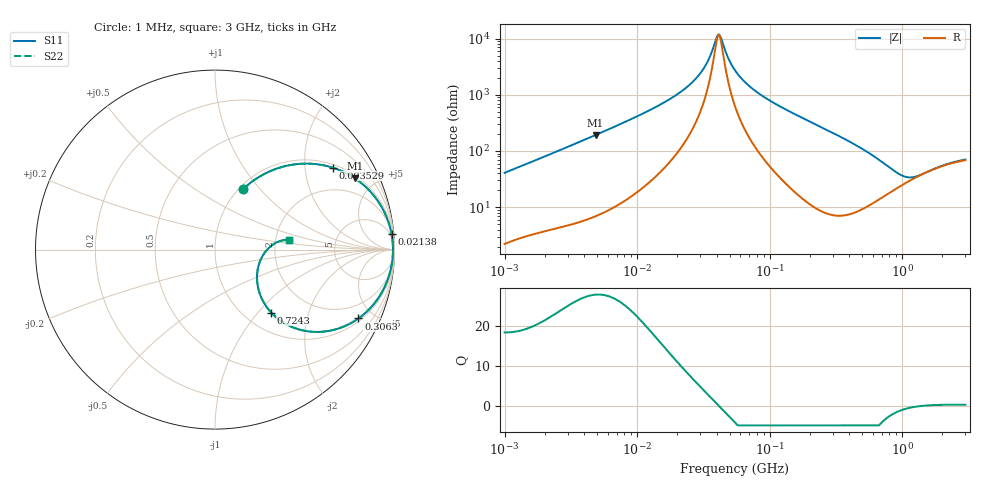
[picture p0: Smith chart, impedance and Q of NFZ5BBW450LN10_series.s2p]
! NFZ5BBW450LN10
# Hz S RI R 50
!Freq.(Hz) S11(Real) S11(Imag) S21(Real) S21(Imag) S12(Real) S12(Imag) S22(Real) S22(Imag)
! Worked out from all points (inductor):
!   401 points, 1 MHz to 3 GHz, reference 50 ohm
!   read as one part in series: L = 6.43 uH near 1.041 MHz
!   highest Q = 27.9 at 4.861 MHz (marker M1), where L = 6.31 uH
!   self-resonance near 40.57 MHz
!   S11 on the Smith chart (normalised r, x): 1 MHz: 1.04, +0.82; 3.529 MHz: 1.11, +2.79; 21.38 MHz: 3, +23; 306.3 MHz: 1.14, -4.09; 724.3 MHz: 1.31, -1.18; 3 GHz: 2.38, +0.31
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1000000  0.1568 0.3375  0.8432 -0.3375  0.8432 -0.3375  0.1568 0.3375
2055611  0.4057 0.4685  0.5943 -0.4685  0.5943 -0.4685  0.4057 0.4685
3528959  0.6555 0.4567  0.3445 -0.4567  0.3445 -0.4567  0.6555 0.4567
3823119  0.6896 0.4445  0.3104 -0.4445  0.3104 -0.4445  0.6896 0.4445
4861065  0.7802 0.3966  0.2198 -0.3966  0.2198 -0.3966  0.7802 0.3966
1.461624e7  0.9683 0.1471  0.0317 -0.1471  0.0317 -0.1471  0.9683 0.1471
2.137957e7  0.9838 0.0856  0.0162 -0.0856  0.0162 -0.0856  0.9838 0.0856
3.127247e7  0.9904 0.0343  0.00964 -0.0343  0.00964 -0.0343  0.9904 0.0343
3.526298e7  0.9912 0.0194  0.00878 -0.0194  0.00878 -0.0194  0.9912 0.0194
3.976269e7  0.9916 0.00461  0.00838 -0.00461  0.00838 -0.00461  0.9916 0.00461
4.138676e7  0.9916 -0.000282  0.00835 0.000282  0.00835 0.000282  0.9916 -0.000282
5.477226e7  0.9905 -0.035  0.00955 0.035  0.00955 0.035  0.9905 -0.035
6.690963e7  0.9879 -0.0612  0.0121 0.0612  0.0121 0.0612  0.9879 -0.0612
8.679508e7  0.9817 -0.0989  0.0183 0.0989  0.0183 0.0989  0.9817 -0.0989
2.094008e8  0.9028 -0.2802  0.0972 0.2802  0.0972 0.2802  0.9028 -0.2802
3.062963e8  0.7992 -0.3835  0.2008 0.3835  0.2008 0.3835  0.7992 -0.3835
4.951867e8  0.5467 -0.4582  0.4533 0.4582  0.4533 0.4582  0.5467 -0.4582
7.243229e8  0.3129 -0.3507  0.6871 0.3507  0.6871 0.3507  0.3129 -0.3507
8.005644e8  0.2724 -0.2956  0.7276 0.2956  0.7276 0.2956  0.2724 -0.2956
1.194682e9  0.2469 -0.0754  0.7531 0.0754  0.7531 0.0754  0.2469 -0.0754
1.747494e9  0.3249 0.0295  0.6751 -0.0295  0.6751 -0.0295  0.3249 0.0295
3e9  0.4129 0.0531  0.5871 -0.0531  0.5871 -0.0531  0.4129 0.0531
